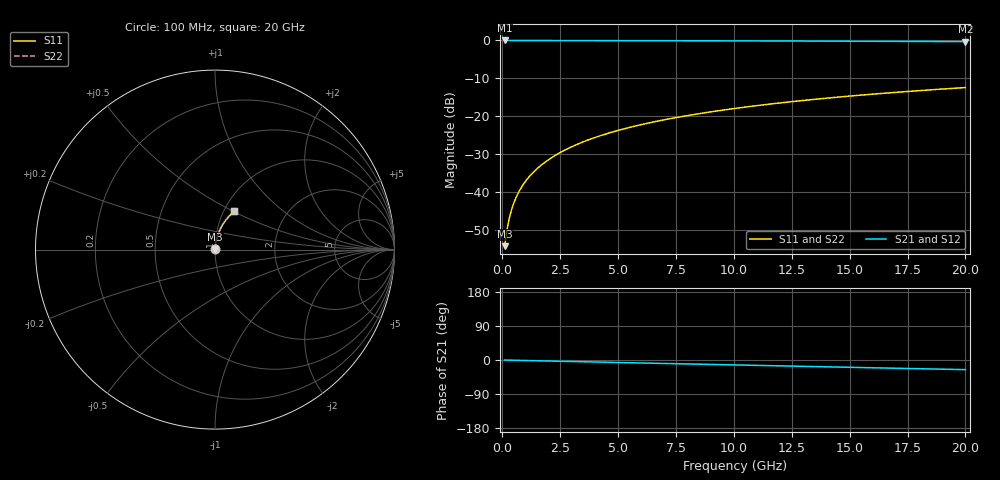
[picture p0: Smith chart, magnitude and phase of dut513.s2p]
! Touchstone file exported from HFSS 2026.1.0
!  File:  C:/ffzhzh/LocalFiles/Ansys_Project_Files/temp_train_BSMRDL_513_1783014443_46388.aedt
!  Generated:  01:48:42 AM Jul  3, 2026
!  Design:  BSMRDL
!  Project:  temp_train_BSMRDL_513_1783014443_46388
! Variables:
!  h_bsmrdl = 4.77um
!  h_ox = 20um
!  h_rdl = 5um
!  h_sub = 80um
!  h_tmrdl = 5um
!  h_tsv = 80um
!  h_via = 3um
!  l_bsmrdl = 348.26um
!  l_sub = 748.26um
!  l_tmrdl = 200um
!  m_sub = 200um
!  pitch = 49.92um
!  r_tsv = 6um
!  s_tmrdl = 10um
!  w_bsmrdl = 23.28um
!  w_sub = 500um
!  w_tmrdl = 12um
!  x_tsv_center1 = 206um
!  x_tsv_center2 = 577.54um
!  x_tsv_center3 = 789.54um
!  x_tsv_center4 = 1161.08um
!  x_tsv_center5 = 1373.08um
!  x_tsv_center6 = 1744.62um
# GHz S MA R 50.000000
! Terminal data exported
! Port[1] = BSM_RDL1_1_T1
! Port[2] = BSM_RDL1_1_T2
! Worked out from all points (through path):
!   200 points, 100 MHz to 20 GHz, reference 50 ohm
!   highest |S21| = -0.01 dB at 100 MHz (marker M1); lowest = -0.3 dB at 20 GHz (marker M2)
!   group delay of S21, straight-line fit = 3.53 ps
!   lowest |S11| = -54.3 dB at 100 MHz (marker M3), VSWR 1.00, Z = 50.1 + j0.144 ohm
!   |S11| at or under -10 dB: start of sweep to end of sweep
!   |S22| runs from -54.3 to -12.4 dB; largest |S21 - S12| = 4.5e-15
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0.1  0.001931 48.2  0.9987 -0.1  0.9987 -0.1  0.001931 48.2
! Gamma 0 0 0 0
! Port Impedance 50 0 50 0
0.2  0.003158 65.3  0.9986 -0.3  0.9986 -0.3  0.003156 65.4
0.3  0.004496 72.3  0.9985 -0.4  0.9985 -0.4  0.004492 72.4
0.4  0.005853 75.8  0.9985 -0.5  0.9985 -0.5  0.005848 76.0
0.5  0.007206 77.9  0.9984 -0.7  0.9984 -0.7  0.007201 78.1
0.6  0.008548 79.3  0.9984 -0.8  0.9984 -0.8  0.008543 79.4
0.7  0.009878 80.2  0.9984 -0.9  0.9984 -0.9  0.009874 80.3
0.8  0.0112 80.8  0.9983 -1.1  0.9983 -1.1  0.01119 81.0
1  0.01381 81.7  0.9982 -1.3  0.9982 -1.3  0.01381 81.8
1.4  0.019 82.6  0.9981 -1.9  0.9981 -1.9  0.01901 82.6
1.7  0.02288 82.8  0.9979 -2.3  0.9979 -2.3  0.02288 82.9
2  0.02675 82.9  0.9977 -2.7  0.9977 -2.7  0.02675 82.9
2.7  0.03575 82.7  0.9971 -3.6  0.9971 -3.6  0.03576 82.7
3.5  0.04599 82.1  0.9964 -4.6  0.9964 -4.6  0.04599 82.1
4.2  0.05488 81.4  0.9956 -5.6  0.9956 -5.6  0.05488 81.4
5  0.06497 80.6  0.9947 -6.6  0.9947 -6.6  0.06497 80.6
6.8  0.08735 78.6  0.9923 -8.9  0.9923 -8.9  0.08735 78.5
8.3  0.1057 76.8  0.9901 -10.8  0.9901 -10.8  0.1057 76.8
10.1  0.1274 74.7  0.987 -13.1  0.987 -13.1  0.1274 74.7
13.4  0.1661 70.8  0.9806 -17.3  0.9806 -17.3  0.1661 70.8
16.7  0.2034 66.9  0.973 -21.4  0.973 -21.4  0.2034 66.9
20  0.2388 63.0  0.9645 -25.4  0.9645 -25.4  0.2388 63.0
